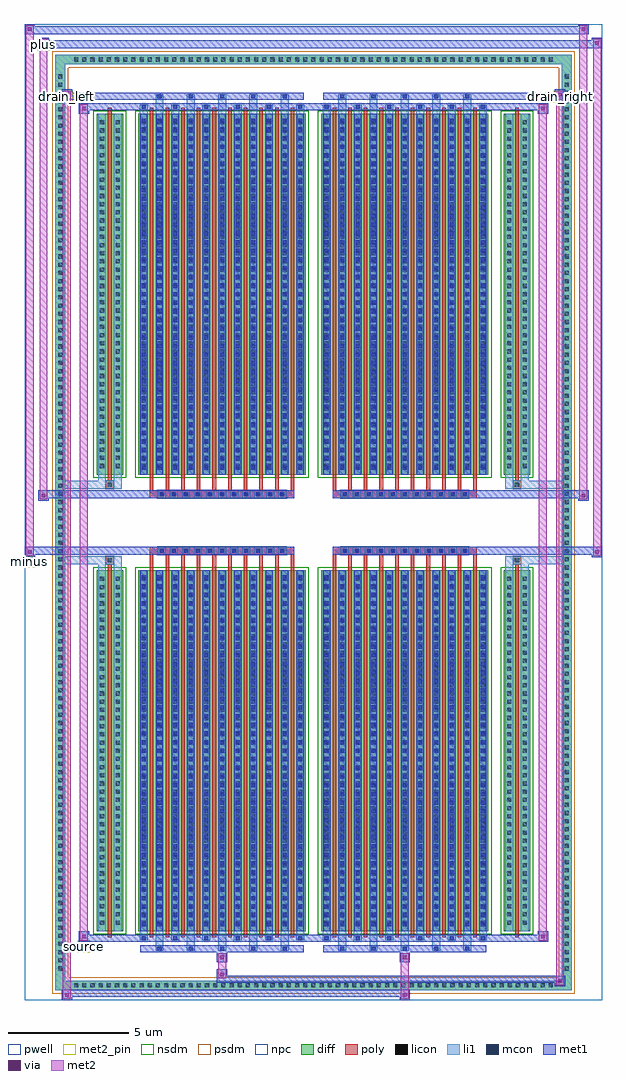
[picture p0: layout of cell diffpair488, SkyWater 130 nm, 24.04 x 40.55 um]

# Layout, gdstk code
import gdstk
lib = gdstk.Library(unit=1e-6, precision=5e-09)
def R(c, l, rs):  # rectangles x0, y0, x1, y1
    for r in rs: c.add(gdstk.rectangle(r[:2], r[2:], *l))
def A(c, l, x, y, w, h, nx, ny, dx, dy):  # array of equal rectangles
    R(c, l, [(x+i*dx, y+j*dy, x+i*dx+w, y+j*dy+h) for i in range(nx) for j in range(ny)])
def P(c, l, *ps):  # polygons
    for p in ps: c.add(gdstk.Polygon(p, *l))
pwell = (64, 44)
diff = (65, 20)
poly = (66, 20)
licon = (66, 44)
li1 = (67, 20)
mcon = (67, 44)
met1 = (68, 20)
via = (68, 44)
met2_pin = (69, 16)
met2 = (69, 20)
nsdm = (93, 44)
psdm = (94, 20)
npc = (95, 20)

diffpair488 = lib.new_cell('diffpair488')
R(diffpair488, pwell, [(-12,-19.84,12,20.71), (-9.32,-18.03,-0.01,-0.805), (0.01,-18.03,9.32,-0.805), (-9.32,0.805,-0.01,18.03), (0.01,0.805,9.32,18.03)])
A(diffpair488, diff, -10.065, -19.44, 0.41, 0.41, 59, 2, 0.34, 38.47)
A(diffpair488, diff, -10.73, -18.735, 0.41, 0.41, 1, 110, 0, 0.34)
A(diffpair488, diff, 10.32, -18.735, 0.41, 0.41, 1, 110, 0, 0.34)
R(diffpair488, diff, [(-10.065,-19.44,10.065,-19.03), (-10.73,-18.735,-10.32,18.735), (10.32,-18.735,10.73,18.735), (-9.01,-16.985,-7.91,-1.985), (-7.27,-16.985,-0.32,-1.985), (0.32,-16.985,7.27,-1.985), (7.91,-16.985,9.01,-1.985), (-9.01,1.985,-7.91,16.985), (-7.27,1.985,-0.32,16.985), (0.32,1.985,7.27,16.985), (7.91,1.985,9.01,16.985), (-10.065,19.03,10.065,19.44)])
P(diffpair488, diff, [(10.73,19.44),(-10.73,19.44),(-10.73,-19.03),(-10.32,-19.03),(-10.32,19.03),(10.32,19.03),(10.32,-19.03),(-10.32,-19.03),(-10.73,-19.03),(-10.73,-19.44),(10.73,-19.44)])
A(diffpair488, poly, -6.795, -17.235, 0.15, 15.5, 10, 2, 0.65, 18.97)
A(diffpair488, poly, 0.795, -17.235, 0.15, 15.5, 10, 2, 0.65, 18.97)
A(diffpair488, poly, -6.795, -1.735, 0.15, 0.4, 10, 2, 0.65, 3.07)
A(diffpair488, poly, 0.795, -1.735, 0.15, 0.4, 10, 2, 0.65, 3.07)
A(diffpair488, poly, -6.46, -1.335, 0.33, 0.33, 11, 2, 0.5, 2.34)
A(diffpair488, poly, 1.13, -1.335, 0.33, 0.33, 11, 2, 0.5, 2.34)
R(diffpair488, poly, [(-8.535,-17.235,-8.385,-1.735), (8.385,-17.235,8.535,-1.735), (-8.625,-1.735,-8.295,-1.405), (-8.625,-1.735,-8.295,-1.405), (8.295,-1.735,8.625,-1.405), (8.295,-1.735,8.625,-1.405), (-6.795,-1.335,-0.795,-1.005), (0.795,-1.335,6.795,-1.005), (-6.795,1.005,-0.795,1.335), (0.795,1.005,6.795,1.335), (-8.625,1.405,-8.295,1.735), (-8.625,1.405,-8.295,1.735), (8.295,1.405,8.625,1.735), (8.295,1.405,8.625,1.735), (-8.535,1.735,-8.385,17.235), (8.385,1.735,8.535,17.235)])
A(diffpair488, licon, -9.945, -19.32, 0.17, 0.17, 59, 2, 0.34, 38.47)
A(diffpair488, licon, -10.61, -18.615, 0.17, 0.17, 1, 110, 0, 0.34)
A(diffpair488, licon, 10.44, -18.615, 0.17, 0.17, 1, 110, 0, 0.34)
A(diffpair488, licon, -8.87, -16.71, 0.17, 0.17, 1, 43, 0, 0.34)
A(diffpair488, licon, -8.22, -16.71, 0.17, 0.17, 1, 43, 0, 0.34)
A(diffpair488, licon, -7.13, -16.71, 0.17, 0.17, 11, 43, 0.65, 0.34)
A(diffpair488, licon, 0.46, -16.71, 0.17, 0.17, 11, 43, 0.65, 0.34)
A(diffpair488, licon, 8.05, -16.71, 0.17, 0.17, 1, 43, 0, 0.34)
A(diffpair488, licon, 8.7, -16.71, 0.17, 0.17, 1, 43, 0, 0.34)
A(diffpair488, licon, -6.38, -1.255, 0.17, 0.17, 11, 2, 0.5, 2.34)
A(diffpair488, licon, 1.21, -1.255, 0.17, 0.17, 11, 2, 0.5, 2.34)
A(diffpair488, licon, -8.87, 2.26, 0.17, 0.17, 1, 43, 0, 0.34)
A(diffpair488, licon, -8.22, 2.26, 0.17, 0.17, 1, 43, 0, 0.34)
A(diffpair488, licon, -7.13, 2.26, 0.17, 0.17, 11, 43, 0.65, 0.34)
A(diffpair488, licon, 0.46, 2.26, 0.17, 0.17, 11, 43, 0.65, 0.34)
A(diffpair488, licon, 8.05, 2.26, 0.17, 0.17, 1, 43, 0, 0.34)
A(diffpair488, licon, 8.7, 2.26, 0.17, 0.17, 1, 43, 0, 0.34)
R(diffpair488, licon, [(-8.545,-1.655,-8.375,-1.485), (8.375,-1.655,8.545,-1.485), (-8.545,1.485,-8.375,1.655), (8.375,1.485,8.545,1.655)])
A(diffpair488, li1, -10.025, -19.4, 0.33, 0.33, 59, 2, 0.34, 38.47)
A(diffpair488, li1, -10.69, -18.695, 0.33, 0.33, 1, 110, 0, 0.34)
A(diffpair488, li1, 10.36, -18.695, 0.33, 0.33, 1, 110, 0, 0.34)
A(diffpair488, li1, -6.56, -17.79, 0.33, 0.805, 5, 2, 1.3, 34.775)
A(diffpair488, li1, -6.48, -17.79, 0.17, 0.17, 5, 2, 1.3, 35.41)
A(diffpair488, li1, 1.03, -17.79, 0.33, 0.805, 5, 2, 1.3, 34.775)
A(diffpair488, li1, 1.11, -17.79, 0.17, 0.17, 5, 2, 1.3, 35.41)
A(diffpair488, li1, -7.21, -17.36, 0.33, 0.375, 6, 2, 1.3, 34.345)
A(diffpair488, li1, -7.13, -17.36, 0.17, 0.17, 6, 2, 1.3, 34.55)
A(diffpair488, li1, 0.38, -17.36, 0.33, 0.375, 6, 2, 1.3, 34.345)
A(diffpair488, li1, 0.46, -17.36, 0.17, 0.17, 6, 2, 1.3, 34.55)
A(diffpair488, li1, -7.21, -16.985, 0.33, 15, 11, 2, 0.65, 18.97)
A(diffpair488, li1, 0.38, -16.985, 0.33, 15, 11, 2, 0.65, 18.97)
A(diffpair488, li1, -8.95, -16.79, 0.33, 0.33, 1, 43, 0, 0.34)
A(diffpair488, li1, -8.3, -16.79, 0.33, 0.33, 1, 43, 0, 0.34)
A(diffpair488, li1, -7.21, -16.79, 0.33, 0.33, 11, 43, 0.65, 0.34)
A(diffpair488, li1, 0.38, -16.79, 0.33, 0.33, 11, 43, 0.65, 0.34)
A(diffpair488, li1, 7.97, -16.79, 0.33, 0.33, 1, 43, 0, 0.34)
A(diffpair488, li1, 8.62, -16.79, 0.33, 0.33, 1, 43, 0, 0.34)
A(diffpair488, li1, -7.13, -16.77, 0.17, 0.17, 11, 41, 0.65, 0.36)
A(diffpair488, li1, -7.13, -16.77, 0.17, 14.57, 11, 2, 0.65, 18.97)
A(diffpair488, li1, 0.46, -16.77, 0.17, 0.17, 11, 41, 0.65, 0.36)
A(diffpair488, li1, 0.46, -16.77, 0.17, 14.57, 11, 2, 0.65, 18.97)
A(diffpair488, li1, -6.46, -1.335, 0.33, 0.33, 11, 2, 0.5, 2.34)
A(diffpair488, li1, 1.13, -1.335, 0.33, 0.33, 11, 2, 0.5, 2.34)
A(diffpair488, li1, -8.95, 2.18, 0.33, 0.33, 1, 43, 0, 0.34)
A(diffpair488, li1, -8.3, 2.18, 0.33, 0.33, 1, 43, 0, 0.34)
A(diffpair488, li1, -7.21, 2.18, 0.33, 0.33, 11, 43, 0.65, 0.34)
A(diffpair488, li1, 0.38, 2.18, 0.33, 0.33, 11, 43, 0.65, 0.34)
A(diffpair488, li1, 7.97, 2.18, 0.33, 0.33, 1, 43, 0, 0.34)
A(diffpair488, li1, 8.62, 2.18, 0.33, 0.33, 1, 43, 0, 0.34)
A(diffpair488, li1, -7.13, 2.2, 0.17, 0.17, 11, 41, 0.65, 0.36)
A(diffpair488, li1, 0.46, 2.2, 0.17, 0.17, 11, 41, 0.65, 0.36)
R(diffpair488, li1, [(-10.73,-19.44,-10.32,-19.03), (-10.73,-19.44,-10.32,-19.03), (-10.32,-19.44,10.32,-19.03), (10.32,-19.44,10.73,-19.03), (10.32,-19.44,10.73,-19.03), (-10.73,-19.03,-10.32,19.03), (10.32,-19.03,10.73,19.03), (-8.95,-16.985,-8.62,-1.985), (-8.3,-16.985,-7.97,-1.985), (7.97,-16.985,8.3,-1.985), (8.62,-16.985,8.95,-1.985), (-8.95,-1.985,-8.62,-1.405), (-8.3,-1.985,-7.97,-1.405), (7.97,-1.985,8.3,-1.405), (8.62,-1.985,8.95,-1.405), (-10.73,-1.735,-8.625,-1.405), (-8.95,-1.735,-8.625,-1.405), (-8.625,-1.735,-8.295,-1.405), (-8.295,-1.735,-7.97,-1.405), (7.97,-1.735,8.295,-1.405), (8.295,-1.735,8.625,-1.405), (8.295,-1.735,10.73,-1.405), (8.625,-1.735,8.95,-1.405), (-10.73,1.405,-8.625,1.735), (-8.95,1.405,-8.625,1.735), (-8.95,1.405,-8.62,1.985), (-8.625,1.405,-8.295,1.735), (-8.3,1.405,-7.97,1.985), (-8.295,1.405,-7.97,1.735), (7.97,1.405,8.295,1.735), (7.97,1.405,8.3,1.985), (8.295,1.405,8.625,1.735), (8.295,1.405,10.73,1.735), (8.62,1.405,8.95,1.985), (8.625,1.405,8.95,1.735), (-8.95,1.985,-8.62,16.985), (-8.3,1.985,-7.97,16.985), (7.97,1.985,8.3,16.985), (8.62,1.985,8.95,16.985), (-10.73,19.03,-10.32,19.44), (-10.73,19.03,-10.32,19.44), (-10.32,19.03,10.32,19.44), (10.32,19.03,10.73,19.44), (10.32,19.03,10.73,19.44)])
A(diffpair488, mcon, -6.48, -17.79, 0.17, 0.17, 5, 2, 1.3, 35.41)
A(diffpair488, mcon, 1.11, -17.79, 0.17, 0.17, 5, 2, 1.3, 35.41)
A(diffpair488, mcon, -7.13, -17.36, 0.17, 0.17, 6, 2, 1.3, 34.55)
A(diffpair488, mcon, 0.46, -17.36, 0.17, 0.17, 6, 2, 1.3, 34.55)
A(diffpair488, mcon, -7.13, -16.77, 0.17, 0.17, 11, 41, 0.65, 0.36)
A(diffpair488, mcon, 0.46, -16.77, 0.17, 0.17, 11, 41, 0.65, 0.36)
A(diffpair488, mcon, -6.38, -1.255, 0.17, 0.17, 11, 2, 0.5, 2.34)
A(diffpair488, mcon, 1.21, -1.255, 0.17, 0.17, 11, 2, 0.5, 2.34)
A(diffpair488, mcon, -7.13, 2.2, 0.17, 0.17, 11, 41, 0.65, 0.36)
A(diffpair488, mcon, 0.46, 2.2, 0.17, 0.17, 11, 41, 0.65, 0.36)
A(diffpair488, met1, -6.54, -17.85, 0.29, 0.29, 5, 2, 1.3, 35.41)
A(diffpair488, met1, 1.05, -17.85, 0.29, 0.29, 5, 2, 1.3, 35.41)
A(diffpair488, met1, -7.19, -17.42, 0.29, 0.29, 6, 2, 1.3, 34.55)
A(diffpair488, met1, 0.4, -17.42, 0.29, 0.29, 6, 2, 1.3, 34.55)
A(diffpair488, met1, -7.19, -16.985, 0.29, 15, 11, 2, 0.65, 18.97)
A(diffpair488, met1, 0.4, -16.985, 0.29, 15, 11, 2, 0.65, 18.97)
A(diffpair488, met1, -7.19, -16.83, 0.29, 0.29, 11, 41, 0.65, 0.36)
A(diffpair488, met1, 0.4, -16.83, 0.29, 0.29, 11, 41, 0.65, 0.36)
A(diffpair488, met1, -6.44, -1.315, 0.29, 0.29, 11, 2, 0.5, 2.34)
A(diffpair488, met1, 1.15, -1.315, 0.29, 0.29, 11, 2, 0.5, 2.34)
A(diffpair488, met1, -7.19, 2.14, 0.29, 0.29, 11, 41, 0.65, 0.36)
A(diffpair488, met1, 0.4, 2.14, 0.29, 0.29, 11, 41, 0.65, 0.36)
R(diffpair488, met1, [(-10.46,-19.84,-10.03,-19.41), (3.58,-19.84,4.01,-19.41), (-10.46,-19.7,4.01,-19.41), (10.03,-19.27,10.46,-18.84), (-4.01,-19.13,10.46,-18.84), (-4.01,-18.99,-3.58,-18.56), (-4.01,-18.28,-3.58,-17.85), (3.58,-18.28,4.01,-17.85), (-7.19,-17.85,-0.4,-17.56), (0.4,-17.85,7.19,-17.56), (-9.75,-17.42,-9.32,-16.99), (-9.75,-17.42,-7.19,-17.13), (-7.19,-17.42,-0.4,-17.13), (-0.4,-17.42,0.4,-17.13), (0.4,-17.42,7.19,-17.13), (7.19,-17.42,9.75,-17.13), (9.32,-17.42,9.75,-16.99), (-12,-1.435,-11.57,-1.005), (11.57,-1.435,12,-1.005), (-12,-1.335,-0.795,-1.005), (-6.795,-1.335,-0.795,-1.005), (0.795,-1.335,6.795,-1.005), (0.795,-1.335,12,-1.005), (-11.43,0.905,-11,1.335), (11,0.905,11.43,1.335), (-11.43,1.005,-6.795,1.335), (-6.795,1.005,-0.795,1.335), (0.795,1.005,6.795,1.335), (6.795,1.005,11.43,1.335), (-9.75,16.99,-9.32,17.42), (9.32,16.99,9.75,17.42), (-9.75,17.13,-7.19,17.42), (-7.19,17.13,-0.4,17.42), (-0.4,17.13,0.4,17.42), (0.4,17.13,7.19,17.42), (7.19,17.13,9.75,17.42), (-10.46,17.56,-10.03,17.99), (-10.46,17.56,-7.19,17.85), (-7.19,17.56,-0.4,17.85), (0.4,17.56,7.19,17.85), (7.19,17.56,10.46,17.85), (10.03,17.56,10.46,17.99), (-11.43,19.71,-11,20.14), (-11.43,19.71,-9.32,20.04), (-9.32,19.71,9.32,20.04), (9.32,19.71,12,20.04), (11.57,19.71,12,20.14), (-12,20.28,-11.57,20.71), (-12,20.28,-9.32,20.61), (-9.32,20.28,9.32,20.61), (9.32,20.28,11.43,20.61), (11,20.28,11.43,20.71)])
R(diffpair488, via, [(-10.32,-19.7,-10.17,-19.55), (3.72,-19.7,3.87,-19.55), (10.17,-19.13,10.32,-18.98), (-3.87,-18.85,-3.72,-18.7), (-3.87,-18.14,-3.72,-17.99), (3.72,-18.14,3.87,-17.99), (-9.61,-17.28,-9.46,-17.13), (9.46,-17.28,9.61,-17.13), (-11.86,-1.295,-11.71,-1.145), (11.71,-1.295,11.86,-1.145), (-11.29,1.045,-11.14,1.195), (11.14,1.045,11.29,1.195), (-9.61,17.13,-9.46,17.28), (9.46,17.13,9.61,17.28), (-10.32,17.7,-10.17,17.85), (10.17,17.7,10.32,17.85), (-11.29,19.85,-11.14,20), (11.71,19.85,11.86,20), (-11.86,20.42,-11.71,20.57), (11.14,20.42,11.29,20.57)])
R(diffpair488, met2_pin, [(-9.785,-17.87,-9.285,-17.37), (-12.035,-1.885,-11.535,-1.385), (-10.495,17.44,-9.995,17.94), (9.995,17.44,10.495,17.94), (-11.465,19.59,-10.965,20.09)])
R(diffpair488, met2, [(-10.41,-19.79,-10.08,-19.46), (-10.41,-19.79,-10.08,17.94), (3.63,-19.79,3.96,-19.46), (3.63,-19.46,3.96,-18.23), (10.08,-19.22,10.41,-18.89), (10.08,-19.22,10.41,17.94), (-3.96,-18.94,-3.63,-18.61), (-3.96,-18.61,-3.63,-18.23), (-3.96,-18.23,-3.63,-17.9), (3.63,-18.23,3.96,-17.9), (-9.7,-17.37,-9.37,-17.04), (-9.7,-17.37,-9.37,17.37), (9.37,-17.37,9.7,-17.04), (9.37,-17.37,9.7,17.37), (-11.95,-1.385,-11.62,-1.055), (-11.95,-1.385,-11.62,20.66), (11.62,-1.385,11.95,-1.055), (11.62,-1.385,11.95,20.09), (-11.38,0.955,-11.05,1.285), (-11.38,0.955,-11.05,20.09), (11.05,0.955,11.38,1.285), (11.05,0.955,11.38,20.66), (-9.7,17.04,-9.37,17.37), (9.37,17.04,9.7,17.37), (-10.41,17.61,-10.08,17.94), (10.08,17.61,10.41,17.94), (-11.38,19.76,-11.05,20.09), (11.62,19.76,11.95,20.09), (-11.95,20.33,-11.62,20.66), (11.05,20.33,11.38,20.66)])
P(diffpair488, met2, [(11.95,-1.385),(11.95,-1.385),(11.95,-1.055),(11.95,-1.055)],
  [(11.95,19.76),(11.95,19.76),(11.95,20.09),(11.95,20.09)],
  [(-11.62,-1.385),(-11.62,-1.385),(-11.62,-1.055),(-11.62,-1.055)],
  [(-11.62,20.33),(-11.62,20.33),(-11.62,20.66),(-11.62,20.66)],
  [(11.38,0.955),(11.38,0.955),(11.38,1.285),(11.38,1.285)],
  [(11.38,20.33),(11.38,20.33),(11.38,20.66),(11.38,20.66)],
  [(-11.05,0.955),(-11.05,0.955),(-11.05,1.285),(-11.05,1.285)],
  [(-11.05,19.76),(-11.05,19.76),(-11.05,20.09),(-11.05,20.09)],
  [(-10.08,-19.79),(-10.08,-19.79),(-10.08,-19.46),(-10.08,-19.46)],
  [(-10.08,17.61),(-10.08,17.61),(-10.08,17.94),(-10.08,17.94)],
  [(10.41,-19.22),(10.41,-19.22),(10.41,-18.89),(10.41,-18.89)],
  [(10.41,17.61),(10.41,17.61),(10.41,17.94),(10.41,17.94)],
  [(-9.37,-17.37),(-9.37,-17.37),(-9.37,-17.04),(-9.37,-17.04)],
  [(-9.37,17.04),(-9.37,17.04),(-9.37,17.37),(-9.37,17.37)],
  [(9.7,-17.37),(9.7,-17.37),(9.7,-17.04),(9.7,-17.04)],
  [(9.7,17.04),(9.7,17.04),(9.7,17.37),(9.7,17.37)])
R(diffpair488, nsdm, [(-9.14,-17.115,-7.78,-1.855), (-7.4,-17.115,-0.19,-1.855), (0.19,-17.115,7.4,-1.855), (7.78,-17.115,9.14,-1.855), (-9.14,1.855,-7.78,17.115), (-7.4,1.855,-0.19,17.115), (0.19,1.855,7.4,17.115), (7.78,1.855,9.14,17.115)])
P(diffpair488, psdm, [(10.86,19.57),(-10.86,19.57),(-10.86,-18.9),(-10.19,-18.9),(-10.19,18.9),(10.19,18.9),(10.19,-18.9),(-10.19,-18.9),(-10.86,-18.9),(-10.86,-19.57),(10.86,-19.57)])
A(diffpair488, npc, -6.48, -1.355, 0.37, 0.37, 11, 2, 0.5, 2.34)
A(diffpair488, npc, 1.11, -1.355, 0.37, 0.37, 11, 2, 0.5, 2.34)
R(diffpair488, npc, [(-8.645,-1.755,-8.275,-1.385), (8.275,-1.755,8.645,-1.385), (-6.48,-1.355,-5.61,-0.985), (-6.48,-1.355,-5.61,-0.985), (-5.98,-1.355,-5.11,-0.985), (-5.98,-1.355,-5.11,-0.985), (-5.48,-1.355,-4.61,-0.985), (-5.48,-1.355,-4.61,-0.985), (-4.98,-1.355,-4.11,-0.985), (-4.98,-1.355,-4.11,-0.985), (-4.48,-1.355,-3.61,-0.985), (-4.48,-1.355,-3.61,-0.985), (-3.98,-1.355,-3.11,-0.985), (-3.98,-1.355,-3.11,-0.985), (-3.48,-1.355,-2.61,-0.985), (-3.48,-1.355,-2.61,-0.985), (-2.98,-1.355,-2.11,-0.985), (-2.98,-1.355,-2.11,-0.985), (-2.48,-1.355,-1.61,-0.985), (-2.48,-1.355,-1.61,-0.985), (-1.98,-1.355,-1.11,-0.985), (-1.98,-1.355,-1.11,-0.985), (1.11,-1.355,1.98,-0.985), (1.11,-1.355,1.98,-0.985), (1.61,-1.355,2.48,-0.985), (1.61,-1.355,2.48,-0.985), (2.11,-1.355,2.98,-0.985), (2.11,-1.355,2.98,-0.985), (2.61,-1.355,3.48,-0.985), (2.61,-1.355,3.48,-0.985), (3.11,-1.355,3.98,-0.985), (3.11,-1.355,3.98,-0.985), (3.61,-1.355,4.48,-0.985), (3.61,-1.355,4.48,-0.985), (4.11,-1.355,4.98,-0.985), (4.11,-1.355,4.98,-0.985), (4.61,-1.355,5.48,-0.985), (4.61,-1.355,5.48,-0.985), (5.11,-1.355,5.98,-0.985), (5.11,-1.355,5.98,-0.985), (5.61,-1.355,6.48,-0.985), (5.61,-1.355,6.48,-0.985), (-6.48,0.985,-5.61,1.355), (-6.48,0.985,-5.61,1.355), (-5.98,0.985,-5.11,1.355), (-5.98,0.985,-5.11,1.355), (-5.48,0.985,-4.61,1.355), (-5.48,0.985,-4.61,1.355), (-4.98,0.985,-4.11,1.355), (-4.98,0.985,-4.11,1.355), (-4.48,0.985,-3.61,1.355), (-4.48,0.985,-3.61,1.355), (-3.98,0.985,-3.11,1.355), (-3.98,0.985,-3.11,1.355), (-3.48,0.985,-2.61,1.355), (-3.48,0.985,-2.61,1.355), (-2.98,0.985,-2.11,1.355), (-2.98,0.985,-2.11,1.355), (-2.48,0.985,-1.61,1.355), (-2.48,0.985,-1.61,1.355), (-1.98,0.985,-1.11,1.355), (-1.98,0.985,-1.11,1.355), (1.11,0.985,1.98,1.355), (1.11,0.985,1.98,1.355), (1.61,0.985,2.48,1.355), (1.61,0.985,2.48,1.355), (2.11,0.985,2.98,1.355), (2.11,0.985,2.98,1.355), (2.61,0.985,3.48,1.355), (2.61,0.985,3.48,1.355), (3.11,0.985,3.98,1.355), (3.11,0.985,3.98,1.355), (3.61,0.985,4.48,1.355), (3.61,0.985,4.48,1.355), (4.11,0.985,4.98,1.355), (4.11,0.985,4.98,1.355), (4.61,0.985,5.48,1.355), (4.61,0.985,5.48,1.355), (5.11,0.985,5.98,1.355), (5.11,0.985,5.98,1.355), (5.61,0.985,6.48,1.355), (5.61,0.985,6.48,1.355), (-8.645,1.385,-8.275,1.755), (8.275,1.385,8.645,1.755)])
diffpair488.add(gdstk.Label('minus', (-11.785,-1.635), layer=69, texttype=5))
diffpair488.add(gdstk.Label('drain_right', (10.245,17.69), layer=69, texttype=5))
diffpair488.add(gdstk.Label('drain_left', (-10.245,17.69), layer=69, texttype=5))
diffpair488.add(gdstk.Label('source', (-9.535,-17.62), layer=69, texttype=5))
diffpair488.add(gdstk.Label('plus', (-11.215,19.84), layer=69, texttype=5))

lib.write_gds('diffpair488.gds')
